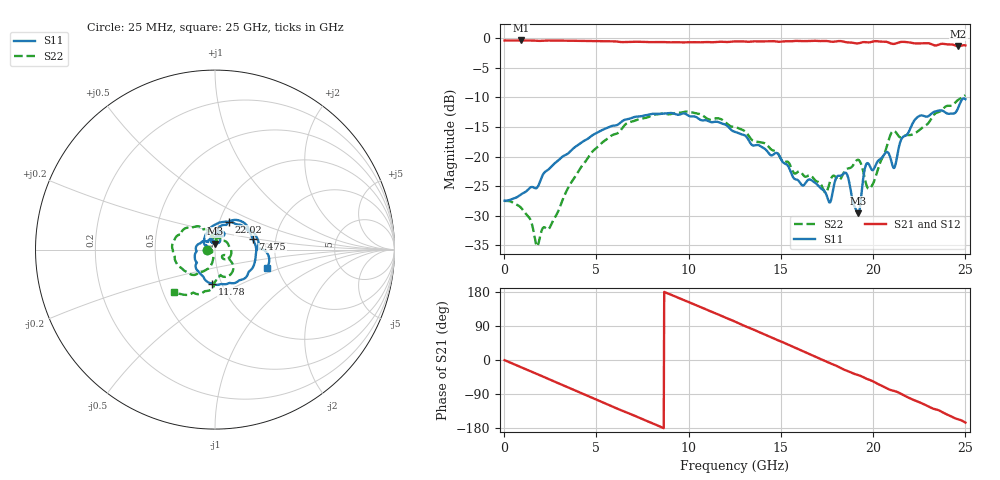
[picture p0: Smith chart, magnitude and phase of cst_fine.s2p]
! RG_ts6_sw_pwr: Finite board 24 × 16 mm, ThunderScope stack, via F → In3 (stub to B) through In1 GND / In2 PWR / In4 GND, four GND vias at 1 mm joined to In1 and In4 (openings in In2)
! stackup: ThunderScope Rev5.3 6-layer with the In2 plane
! ports: 1 F, 2 In3
! CST Studio Suite 2025.5 Release from 2025-05-30, time domain (FIT, hexahedral, PBA), 793280 mesh cells, 230 s
! mesh: {'lpw': 30.0, 'lpb': 30.0, 'minstep': 0.0, 'ratio': 20}; ports: port 1 (face); port 2 (face)
! interpolated from CST's 1001 samples to the case grid
# Hz S RI R 50
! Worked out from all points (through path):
!   1000 points, 25 MHz to 25 GHz, reference 50 ohm
!   highest |S21| = -0.37 dB at 900 MHz (marker M1); lowest = -1.4 dB at 24.62 GHz (marker M2)
!   group delay of S21, straight-line fit = 58.2 ps
!   lowest |S11| = -29.6 dB at 19.2 GHz (marker M3), VSWR 1.07, Z = 49.8 + j3.29 ohm
!   |S11| at or under -10 dB: start of sweep to end of sweep
!   |S22| runs from -35.2 to -9.6 dB; largest |S21 - S12| = 0.0014
!   S11 on the Smith chart (normalised r, x): 25 MHz: 0.92, +0.00; 7.475 GHz: 1.52, +0.19; 11.78 GHz: 0.90, -0.36; 22.02 GHz: 1.11, +0.36; 25 GHz: 1.76, -0.39
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2.5e7  -0.0423 0.000237  0.9576 -0.00874  0.9573 -0.00865  -0.0421 6.05e-05
9e8  -0.0467 0.0101  0.9064 -0.3094  0.9065 -0.3097  -0.037 0.00282
1.825e9  -0.0504 0.0236  0.7458 -0.5867  0.7464 -0.5868  -0.016 -0.00751
4.2e9  -0.0139 0.1312  0.0362 -0.9509  0.0358 -0.9509  -0.0189 -0.0804
5.7e9  0.0922 0.1523  -0.4599 -0.8228  -0.4602 -0.8233  -0.0751 -0.1249
7.475e9  0.212 0.0582  -0.8499 -0.3849  -0.8499 -0.3844  -0.1776 -0.1113
8.35e9  0.2275 -0.027  -0.9231 -0.1046  -0.9234 -0.1051  -0.216 -0.0729
1.005e10  0.1388 -0.1699  -0.8142 0.4346  -0.8148 0.4354  -0.236 0.0332
1.1775e10  -0.0157 -0.1902  -0.4151 0.8364  -0.4145 0.8369  -0.1702 0.1162
1.2525e10  -0.0717 -0.1445  -0.1783 0.9236  -0.1788 0.9227  -0.1284 0.1219
1.44e10  -0.1033 -0.0115  0.4522 0.8291  0.4531 0.8297  -0.0454 0.1086
1.6675e10  -0.0285 0.056  0.9256 0.2179  0.9255 0.2169  -0.000819 0.068
1.7625e10  -0.00865 0.04  0.931 -0.1296  0.932 -0.1301  0.00678 0.0586
1.85e10  0.0157 0.0713  0.826 -0.4211  0.8261 -0.4202  0.0638 0.0427
1.92e10  -0.00133 0.0331  0.6942 -0.5816  0.6947 -0.5825  0.0875 -0.0336
1.9575e10  -0.0179 0.0799  0.6198 -0.689  0.6201 -0.6882  0.0413 -0.0468
1.9825e10  0.0128 0.0817  0.5583 -0.7364  0.558 -0.737  0.043 -0.0323
2.085e10  0.0516 0.0923  0.2014 -0.8961  0.201 -0.8967  0.1019 -0.0949
2.115e10  0.0265 0.0759  0.1282 -0.887  0.1288 -0.8866  0.0666 -0.1504
2.2025e10  0.079 0.1553  -0.1889 -0.8984  -0.1895 -0.8979  0.0139 -0.1514
2.4625e10  0.2625 0.00288  -0.7853 -0.3396  -0.7857 -0.3387  -0.1671 -0.2522
2.5e10  0.2886 -0.1004  -0.8405 -0.2227  -0.8413 -0.2227  -0.231 -0.2363
